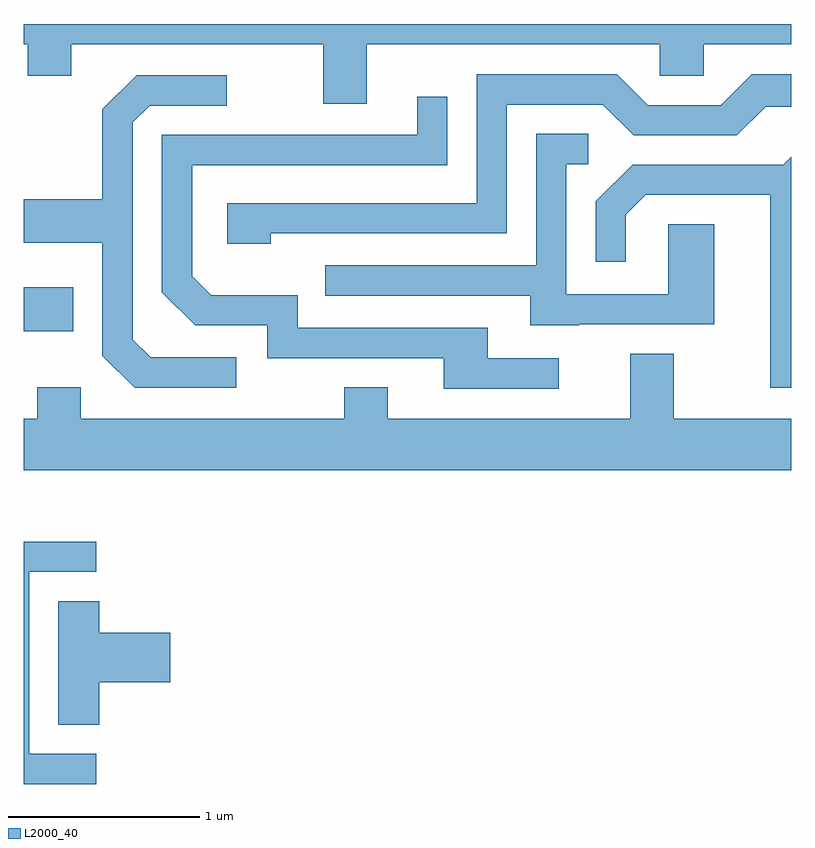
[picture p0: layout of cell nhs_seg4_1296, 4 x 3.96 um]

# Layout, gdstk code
import gdstk
lib = gdstk.Library(unit=1e-6, precision=1e-09)
def R(c, l, rs):  # rectangles x0, y0, x1, y1
    for r in rs: c.add(gdstk.rectangle(r[:2], r[2:], *l))
def P(c, l, *ps):  # polygons
    for p in ps: c.add(gdstk.Polygon(p, *l))
L2000_40 = (2000, 40)

nhs_seg4_1296 = lib.new_cell('nhs_seg4_1296')
R(nhs_seg4_1296, L2000_40, [(223.611,1264.381,223.869,1264.609)])
P(nhs_seg4_1296, L2000_40, [(225.399,1265.876),(226.926,1265.876),(226.926,1265.711),(227.154,1265.711),(227.154,1265.876),(227.611,1265.876),(227.611,1265.982),(223.611,1265.982),(223.611,1265.876),(223.631,1265.876),(223.631,1265.711),(223.859,1265.711),(223.859,1265.876),(225.171,1265.876),(225.171,1265.566),(225.399,1265.566)],
  [(224.899,1264.891),(226.129,1264.891),(226.129,1265.561),(226.629,1265.561),(226.789,1265.401),(227.327,1265.401),(227.477,1265.551),(227.611,1265.551),(227.611,1265.719),(227.404,1265.719),(227.244,1265.559),(226.862,1265.559),(226.702,1265.719),(225.971,1265.719),(225.971,1265.049),(224.671,1265.049),(224.671,1264.836),(224.899,1264.836)],
  [(224.718,1264.244),(224.272,1264.244),(224.179,1264.337),(224.179,1265.469),(224.267,1265.556),(224.668,1265.556),(224.668,1265.714),(224.199,1265.714),(224.021,1265.537),(224.021,1265.069),(223.611,1265.069),(223.611,1264.841),(224.021,1264.841),(224.021,1264.254),(224.189,1264.086),(224.718,1264.086)],
  [(226.398,1264.239),(226.029,1264.239),(226.029,1264.399),(225.039,1264.399),(225.039,1264.569),(224.587,1264.569),(224.489,1264.667),(224.489,1265.246),(225.819,1265.246),(225.819,1265.603),(225.661,1265.603),(225.661,1265.404),(224.331,1265.404),(224.331,1264.584),(224.504,1264.411),(224.881,1264.411),(224.881,1264.241),(225.801,1264.241),(225.801,1264.081),(226.398,1264.081)],
  [(226.505,1264.416),(227.209,1264.416),(227.209,1264.939),(226.971,1264.939),(226.971,1264.574),(226.439,1264.574),(226.439,1265.251),(226.553,1265.251),(226.553,1265.409),(226.281,1265.409),(226.281,1264.724),(225.183,1264.724),(225.183,1264.566),(226.251,1264.566),(226.251,1264.411),(226.505,1264.411)],
  [(227.611,1265.291),(227.569,1265.249),(226.784,1265.249),(226.591,1265.057),(226.591,1264.743),(226.749,1264.743),(226.749,1264.989),(226.852,1265.091),(227.501,1265.091),(227.501,1264.086),(227.611,1264.086)],
  [(227.611,1263.924),(226.999,1263.924),(226.999,1264.264),(226.771,1264.264),(226.771,1263.924),(225.509,1263.924),(225.509,1264.089),(225.281,1264.089),(225.281,1263.924),(223.909,1263.924),(223.909,1264.089),(223.681,1264.089),(223.681,1263.924),(223.611,1263.924),(223.611,1263.656),(227.611,1263.656)],
  [(223.988,1262.179),(223.639,1262.179),(223.639,1263.126),(223.988,1263.126),(223.988,1263.284),(223.611,1263.284),(223.611,1262.021),(223.988,1262.021)],
  [(224.004,1262.551),(224.374,1262.551),(224.374,1262.809),(224.004,1262.809),(224.004,1262.974),(223.791,1262.974),(223.791,1262.331),(224.004,1262.331)])

lib.write_gds('nhs_seg4_1296.gds')
